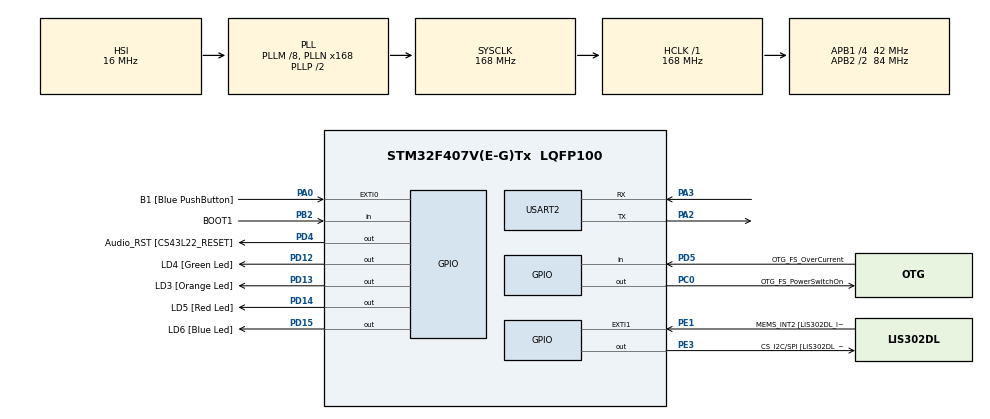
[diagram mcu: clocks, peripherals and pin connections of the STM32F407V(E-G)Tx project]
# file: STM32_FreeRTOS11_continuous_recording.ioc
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Mcu.Family=STM32F4
Mcu.Name=STM32F407V(E-G)Tx
Mcu.Package=LQFP100
NVIC.PriorityGroup=NVIC_PRIORITYGROUP_4
NVIC.TIM6_DAC_IRQn=true\:0\:0\:true\:false\:true\:false\:true\:true
NVIC.TimeBase=TIM6_DAC_IRQn
NVIC.TimeBaseIP=TIM6
NVIC.USART2_IRQn=true\:6\:0\:true\:false\:false\:true\:true\:false
PA0-WKUP.GPIO_Label=B1 [Blue PushButton]
PA0-WKUP.Signal=GPXTI0
PA10.GPIO_Label=OTG_FS_ID
PA10.GPIO_Mode=GPIO_MODE_AF_PP
PA10.GPIO_PuPd=GPIO_NOPULL
PA10.GPIO_Speed=GPIO_SPEED_FREQ_LOW
PA10.Signal=USB_OTG_FS_ID
PA11.GPIO_Label=OTG_FS_DM
PA11.GPIO_Mode=GPIO_MODE_AF_PP
PA11.GPIO_PuPd=GPIO_NOPULL
PA11.GPIO_Speed=GPIO_SPEED_FREQ_LOW
PA11.Signal=USB_OTG_FS_DM
PA12.GPIO_Label=OTG_FS_DP
PA12.GPIO_Mode=GPIO_MODE_AF_PP
PA12.GPIO_PuPd=GPIO_NOPULL
PA12.GPIO_Speed=GPIO_SPEED_FREQ_LOW
PA12.Signal=USB_OTG_FS_DP
PA13.GPIO_Label=SWDIO
PA13.Signal=SYS_JTMS-SWDIO
PA14.GPIO_Label=SWCLK
PA14.Signal=SYS_JTCK-SWCLK
PA2.Mode=Asynchronous
PA2.Signal=USART2_TX
PA3.Mode=Asynchronous
PA3.Signal=USART2_RX
PA4.GPIO_Label=I2S3_WS [CS43L22_LRCK]
PA4.GPIO_Mode=GPIO_MODE_AF_PP
PA4.GPIO_PuPd=GPIO_NOPULL
PA4.GPIO_Speed=GPIO_SPEED_FREQ_LOW
PA4.Signal=I2S3_WS
PA5.GPIO_Label=SPI1_SCK [LIS302DL_SCL/SPC]
PA5.GPIO_Mode=GPIO_MODE_AF_PP
PA5.GPIO_PuPd=GPIO_NOPULL
PA5.GPIO_Speed=GPIO_SPEED_FREQ_LOW
PA5.Signal=SPI1_SCK
PA6.GPIO_Label=SPI1_MISO [LIS302DL_SDO]
PA6.GPIO_Mode=GPIO_MODE_AF_PP
PA6.GPIO_PuPd=GPIO_NOPULL
PA6.GPIO_Speed=GPIO_SPEED_FREQ_LOW
PA6.Signal=SPI1_MISO
PA7.GPIO_Label=SPI1_MOSI [LIS302DL_SDA/SDI/SDO]
PA7.GPIO_Mode=GPIO_MODE_AF_PP
PA7.GPIO_PuPd=GPIO_NOPULL
PA7.GPIO_Speed=GPIO_SPEED_FREQ_LOW
PA7.Signal=SPI1_MOSI
PA9.GPIO_Label=VBUS_FS
PA9.GPIO_Mode=GPIO_MODE_INPUT
PA9.GPIO_PuPd=GPIO_NOPULL
PA9.Signal=USB_OTG_FS_VBUS
PB10.GPIO_Label=CLK_IN [MP45DT02_CLK]
PB10.GPIO_Mode=GPIO_MODE_AF_PP
PB10.GPIO_PuPd=GPIO_NOPULL
PB10.GPIO_Speed=GPIO_SPEED_FREQ_LOW
PB10.Signal=I2S2_CK
PB2.GPIO_Label=BOOT1
PB2.GPIO_Mode=GPIO_MODE_INPUT
PB2.GPIO_PuPd=GPIO_NOPULL
PB2.Signal=GPIO_Input
PB3.GPIO_Label=SWO
PB3.Signal=SYS_JTDO-SWO
PB6.GPIO_Label=Audio_SCL [CS43L22_SCL]
PB6.GPIO_Mode=GPIO_MODE_AF_OD
PB6.GPIO_PuPd=GPIO_NOPULL
PB6.GPIO_Speed=GPIO_SPEED_FREQ_LOW
PB6.Signal=I2C1_SCL
PB9.GPIO_Label=Audio_SDA [CS43L22_SDA]
PB9.GPIO_Mode=GPIO_MODE_AF_OD
PB9.GPIO_PuPd=GPIO_NOPULL
PB9.GPIO_Speed=GPIO_SPEED_FREQ_LOW
PB9.Signal=I2C1_SDA
PC0.GPIO_Label=OTG_FS_PowerSwitchOn
PC0.GPIO_PuPd=GPIO_NOPULL
PC0.GPIO_Speed=GPIO_SPEED_FREQ_LOW
PC0.PinState=GPIO_PIN_SET
PC0.Signal=GPIO_Output
PC10.GPIO_Label=I2S3_SCK [CS43L22_SCLK]
PC10.GPIO_Mode=GPIO_MODE_AF_PP
PC10.GPIO_PuPd=GPIO_NOPULL
PC10.GPIO_Speed=GPIO_SPEED_FREQ_LOW
PC10.Signal=I2S3_CK
PC12.GPIO_Label=I2S3_SD [CS43L22_SDIN]
PC12.GPIO_Mode=GPIO_MODE_AF_PP
PC12.GPIO_PuPd=GPIO_NOPULL
PC12.GPIO_Speed=GPIO_SPEED_FREQ_LOW
PC12.Signal=I2S3_SD
PC14-OSC32_IN.GPIO_Label=PC14-OSC32_IN
PC14-OSC32_IN.Signal=RCC_OSC32_IN
PC15-OSC32_OUT.GPIO_Label=PC15-OSC32_OUT
PC15-OSC32_OUT.Signal=RCC_OSC32_OUT
PC3.GPIO_Label=PDM_OUT [MP45DT02_DOUT]
PC3.GPIO_Mode=GPIO_MODE_AF_PP
PC3.GPIO_PuPd=GPIO_NOPULL
PC3.GPIO_Speed=GPIO_SPEED_FREQ_LOW
PC3.Signal=I2S2_SD
PC7.GPIO_Label=I2S3_MCK [CS43L22_MCLK]
PC7.GPIO_Mode=GPIO_MODE_AF_PP
PC7.GPIO_PuPd=GPIO_NOPULL
PC7.GPIO_Speed=GPIO_SPEED_FREQ_LOW
PC7.Signal=I2S3_MCK
PD12.GPIO_Label=LD4 [Green Led]
PD12.GPIO_PuPd=GPIO_NOPULL
PD12.GPIO_Speed=GPIO_SPEED_FREQ_LOW
PD12.Signal=GPIO_Output
PD13.GPIO_Label=LD3 [Orange Led]
PD13.GPIO_PuPd=GPIO_NOPULL
PD13.GPIO_Speed=GPIO_SPEED_FREQ_LOW
PD13.Signal=GPIO_Output
PD14.GPIO_Label=LD5 [Red Led]
PD14.GPIO_PuPd=GPIO_NOPULL
PD14.GPIO_Speed=GPIO_SPEED_FREQ_LOW
PD14.Signal=GPIO_Output
PD15.GPIO_Label=LD6 [Blue Led]
PD15.GPIO_PuPd=GPIO_NOPULL
PD15.GPIO_Speed=GPIO_SPEED_FREQ_LOW
PD15.Signal=GPIO_Output
PD4.GPIO_Label=Audio_RST [CS43L22_RESET]
PD4.GPIO_PuPd=GPIO_NOPULL
PD4.GPIO_Speed=GPIO_SPEED_FREQ_LOW
PD4.Signal=GPIO_Output
PD5.GPIO_Label=OTG_FS_OverCurrent
PD5.GPIO_Mode=GPIO_MODE_INPUT
PD5.GPIO_PuPd=GPIO_NOPULL
PD5.Signal=GPIO_Input
PE1.GPIO_Label=MEMS_INT2 [LIS302DL_INT2]
PE1.GPIO_ModeDefaultEXTI=GPIO_MODE_EVT_RISING
PE1.GPIO_PuPd=GPIO_NOPULL
PE1.Signal=GPXTI1
PE3.GPIO_Label=CS_I2C/SPI [LIS302DL_CS_I2C/SPI]
PE3.GPIO_PuPd=GPIO_NOPULL
PE3.GPIO_Speed=GPIO_SPEED_FREQ_LOW
PE3.Signal=GPIO_Output
PH0-OSC_IN.GPIO_Label=PH0-OSC_IN
PH0-OSC_IN.Signal=RCC_OSC_IN
PH1-OSC_OUT.GPIO_Label=PH1-OSC_OUT
PH1-OSC_OUT.Signal=RCC_OSC_OUT
ProjectManager.HeapSize=0x200
ProjectManager.StackSize=0x400
ProjectManager.TargetToolchain=STM32CubeIDE
RCC.48MHZClocksFreq_Value=48000000
RCC.AHBFreq_Value=168000000
RCC.APB1CLKDivider=RCC_HCLK_DIV4
RCC.APB1Freq_Value=42000000
RCC.APB1TimFreq_Value=84000000
RCC.APB2CLKDivider=RCC_HCLK_DIV2
RCC.APB2Freq_Value=84000000
RCC.APB2TimFreq_Value=168000000
RCC.CortexFreq_Value=168000000
RCC.HCLKFreq_Value=168000000
RCC.HSE_VALUE=8000000
RCC.HSI_VALUE=16000000
RCC.LSE_VALUE=32768
RCC.PLLM=8
RCC.PLLN=168
RCC.PLLQ=7
RCC.SYSCLKFreq_VALUE=168000000
RCC.SYSCLKSource=RCC_SYSCLKSOURCE_PLLCLK
RCC.VCOOutputFreq_Value=336000000
RTC.HourFormat=RTC_HOURFORMAT_24
USART2.VirtualMode=VM_ASYNC
VP_RTC_VS_RTC_Activate.Mode=RTC_Enabled
VP_SYS_VS_tim6.Mode=TIM6
board=STM32F407G-DISC1

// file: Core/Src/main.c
/* USER CODE BEGIN Header */
/**
  ******************************************************************************
  * @file           : main.c
  * @brief          : Main program body
  ******************************************************************************
  * @attention
  *
  * <h2><center>&copy; Copyright (c) 2021 STMicroelectronics.
  * All rights reserved.</center></h2>
  *
  * This software component is licensed by ST under BSD 3-Clause license,
  * the "License"; You may not use this file except in compliance with the
  * License. You may obtain a copy of the License at:
  *                        opensource.org/licenses/BSD-3-Clause
  *
  ******************************************************************************
  */
/* USER CODE END Header */
#include "main.h"

/* USER CODE BEGIN Includes */
#include <stdio.h>
#include "FreeRTOS.h"
#include "task.h"

/* USER CODE END Includes */

RTC_HandleTypeDef hrtc;

UART_HandleTypeDef huart2;

/* USER CODE BEGIN PV */

#define DWT_CTRL    (*(volatile uint32_t*)0xE0001000)

/* USER CODE END PV */

void SystemClock_Config(void);
static void MX_GPIO_Init(void);
static void MX_RTC_Init(void);
static void MX_USART2_UART_Init(void);
/* USER CODE BEGIN PFP */

void led_effect_callback(TimerHandle_t xTimer);
void rtc_report_callback( TimerHandle_t xTimer );

extern  void SEGGER_UART_init(uint32_t);

/* USER CODE END PFP */

/* USER CODE BEGIN 0 */

TaskHandle_t handle_menu_task;
TaskHandle_t handle_cmd_task;
TaskHandle_t handle_print_task;
TaskHandle_t handle_led_task;
TaskHandle_t handle_rtc_task;

QueueHandle_t queue_data;
QueueHandle_t queue_print;

volatile uint8_t user_data;
//sw timer handles
TimerHandle_t handle_led_timers[4];
TimerHandle_t rtc_timer;
/* USER CODE END 0 */

int main(void)
{

  /* USER CODE BEGIN 1 */

  BaseType_t status;

  /* USER CODE END 1 */

  /* MCU Configuration--------------------------------------------------------*/

  /* Reset of all peripherals, Initializes the Flash interface and the Systick. */
  HAL_Init();

  /* Configure the system clock */
  SystemClock_Config();

  /* Initialize all configured peripherals */
  MX_GPIO_Init();
  MX_RTC_Init();
  MX_USART2_UART_Init();
  /* USER CODE BEGIN 2 */

  //Enable the CYCCNT counter.
  DWT_CTRL |= ( 1 << 0);

  SEGGER_UART_init(500000);

  SEGGER_SYSVIEW_Conf();

 // SEGGER_SYSVIEW_Start();

  status = xTaskCreate(menu_task, "menu task", 200, NULL, 2, &handle_menu_task);

  configASSERT(status == pdPASS);

  status = xTaskCreate(cmd_task, "cmd_task", 200, NULL, 2, &handle_cmd_task);

  configASSERT(status == pdPASS);

  status = xTaskCreate(print_task, "print_task", 200, NULL, 2, &handle_print_task);

  configASSERT(status == pdPASS);

  status = xTaskCreate(led_task, "led_task", 200, NULL, 2, &handle_led_task);

  configASSERT(status == pdPASS);

  status = xTaskCreate(rtc_task, "rtc_task", 200, NULL, 2, &handle_rtc_task);

  configASSERT(status == pdPASS);

  queue_data = xQueueCreate(10, sizeof(char));

  configASSERT(queue_data != NULL);

  queue_print = xQueueCreate(10, sizeof(size_t));

  configASSERT(queue_print != NULL);

  //create sw timers for led effects
  for(int i = 0; i < 4; i++){
    handle_led_timers[i] = xTimerCreate("Led-Timer", pdMS_TO_TICKS(500), pdTRUE, (void*)(i+1), led_effect_callback);
  }

  rtc_timer = xTimerCreate("rtc_report_timer",pdMS_TO_TICKS(1000),pdTRUE,NULL,rtc_report_callback);

  HAL_UART_Receive_IT(&huart2, (uint8_t*)&user_data, 1);

  //start the freeRTOS scheduler
  vTaskStartScheduler();

  //if the control comes here, then the launch of the scheduler has failed due to
  //insufficient memory in heap

  /* USER CODE END 2 */

  /* Infinite loop */
  while(1)
  {

  }
}

void SystemClock_Config(void)
{
  RCC_OscInitTypeDef RCC_OscInitStruct = {0};
  RCC_ClkInitTypeDef RCC_ClkInitStruct = {0};

  /** Configure the main internal regulator output voltage
  */
  __HAL_RCC_PWR_CLK_ENABLE();
  __HAL_PWR_VOLTAGESCALING_CONFIG(PWR_REGULATOR_VOLTAGE_SCALE1);

  /** Initializes the RCC Oscillators according to the specified parameters
  * in the RCC_OscInitTypeDef structure.
  */
  RCC_OscInitStruct.OscillatorType = RCC_OSCILLATORTYPE_HSI|RCC_OSCILLATORTYPE_LSI;
  RCC_OscInitStruct.HSIState = RCC_HSI_ON;
  RCC_OscInitStruct.HSICalibrationValue = RCC_HSICALIBRATION_DEFAULT;
  RCC_OscInitStruct.LSIState = RCC_LSI_ON;
  RCC_OscInitStruct.PLL.PLLState = RCC_PLL_ON;
  RCC_OscInitStruct.PLL.PLLSource = RCC_PLLSOURCE_HSI;
  RCC_OscInitStruct.PLL.PLLM = 8;
  RCC_OscInitStruct.PLL.PLLN = 168;
  RCC_OscInitStruct.PLL.PLLP = RCC_PLLP_DIV2;
  RCC_OscInitStruct.PLL.PLLQ = 7;
  if (HAL_RCC_OscConfig(&RCC_OscInitStruct) != HAL_OK)
  {
    Error_Handler();
  }

  /** Initializes the CPU, AHB and APB buses clocks
  */
  RCC_ClkInitStruct.ClockType = RCC_CLOCKTYPE_HCLK|RCC_CLOCKTYPE_SYSCLK
                              |RCC_CLOCKTYPE_PCLK1|RCC_CLOCKTYPE_PCLK2;
  RCC_ClkInitStruct.SYSCLKSource = RCC_SYSCLKSOURCE_PLLCLK;
  RCC_ClkInitStruct.AHBCLKDivider = RCC_SYSCLK_DIV1;
  RCC_ClkInitStruct.APB1CLKDivider = RCC_HCLK_DIV4;
  RCC_ClkInitStruct.APB2CLKDivider = RCC_HCLK_DIV2;

  if (HAL_RCC_ClockConfig(&RCC_ClkInitStruct, FLASH_LATENCY_5) != HAL_OK)
  {
    Error_Handler();
  }
}

static void MX_RTC_Init(void)
{

  /** Initialize RTC Only
  */
  hrtc.Instance = RTC;
  hrtc.Init.HourFormat = RTC_HOURFORMAT_24;
  hrtc.Init.AsynchPrediv = 127;
  hrtc.Init.SynchPrediv = 255;
  hrtc.Init.OutPut = RTC_OUTPUT_DISABLE;
  hrtc.Init.OutPutPolarity = RTC_OUTPUT_POLARITY_HIGH;
  hrtc.Init.OutPutType = RTC_OUTPUT_TYPE_OPENDRAIN;
  if (HAL_RTC_Init(&hrtc) != HAL_OK)
  {
    Error_Handler();
  }

}

static void MX_USART2_UART_Init(void)
{

  huart2.Instance = USART2;
  huart2.Init.BaudRate = 115200;
  huart2.Init.WordLength = UART_WORDLENGTH_8B;
  huart2.Init.StopBits = UART_STOPBITS_1;
  huart2.Init.Parity = UART_PARITY_NONE;
  huart2.Init.Mode = UART_MODE_TX_RX;
  huart2.Init.HwFlowCtl = UART_HWCONTROL_NONE;
  huart2.Init.OverSampling = UART_OVERSAMPLING_16;
  if (HAL_UART_Init(&huart2) != HAL_OK)
  {
    Error_Handler();
  }

}

static void MX_GPIO_Init(void)
{
  GPIO_InitTypeDef GPIO_InitStruct = {0};

  /* GPIO Ports Clock Enable */
  __HAL_RCC_GPIOE_CLK_ENABLE();
  __HAL_RCC_GPIOC_CLK_ENABLE();
  __HAL_RCC_GPIOH_CLK_ENABLE();
  __HAL_RCC_GPIOA_CLK_ENABLE();
  __HAL_RCC_GPIOB_CLK_ENABLE();
  __HAL_RCC_GPIOD_CLK_ENABLE();

  /*Configure GPIO pin Output Level */
  HAL_GPIO_WritePin(CS_I2C_SPI_GPIO_Port, CS_I2C_SPI_Pin, GPIO_PIN_RESET);

  /*Configure GPIO pin Output Level */
  HAL_GPIO_WritePin(OTG_FS_PowerSwitchOn_GPIO_Port, OTG_FS_PowerSwitchOn_Pin, GPIO_PIN_SET);

  /*Configure GPIO pin Output Level */
  HAL_GPIO_WritePin(GPIOD, LD4_Pin|LD3_Pin|LD5_Pin|LD6_Pin
                          |Audio_RST_Pin, GPIO_PIN_RESET);

  /*Configure GPIO pin : CS_I2C_SPI_Pin */
  GPIO_InitStruct.Pin = CS_I2C_SPI_Pin;
  GPIO_InitStruct.Mode = GPIO_MODE_OUTPUT_PP;
  GPIO_InitStruct.Pull = GPIO_NOPULL;
  GPIO_InitStruct.Speed = GPIO_SPEED_FREQ_LOW;
  HAL_GPIO_Init(CS_I2C_SPI_GPIO_Port, &GPIO_InitStruct);

  /*Configure GPIO pin : OTG_FS_PowerSwitchOn_Pin */
  GPIO_InitStruct.Pin = OTG_FS_PowerSwitchOn_Pin;
  GPIO_InitStruct.Mode = GPIO_MODE_OUTPUT_PP;
  GPIO_InitStruct.Pull = GPIO_NOPULL;
  GPIO_InitStruct.Speed = GPIO_SPEED_FREQ_LOW;
  HAL_GPIO_Init(OTG_FS_PowerSwitchOn_GPIO_Port, &GPIO_InitStruct);

  /*Configure GPIO pin : PDM_OUT_Pin */
  GPIO_InitStruct.Pin = PDM_OUT_Pin;
  GPIO_InitStruct.Mode = GPIO_MODE_AF_PP;
  GPIO_InitStruct.Pull = GPIO_NOPULL;
  GPIO_InitStruct.Speed = GPIO_SPEED_FREQ_LOW;
  GPIO_InitStruct.Alternate = GPIO_AF5_SPI2;
  HAL_GPIO_Init(PDM_OUT_GPIO_Port, &GPIO_InitStruct);

  /*Configure GPIO pin : B1_Pin */
  GPIO_InitStruct.Pin = B1_Pin;
  GPIO_InitStruct.Mode = GPIO_MODE_IT_RISING;
  GPIO_InitStruct.Pull = GPIO_NOPULL;
  HAL_GPIO_Init(B1_GPIO_Port, &GPIO_InitStruct);

  /*Configure GPIO pin : I2S3_WS_Pin */
  GPIO_InitStruct.Pin = I2S3_WS_Pin;
  GPIO_InitStruct.Mode = GPIO_MODE_AF_PP;
  GPIO_InitStruct.Pull = GPIO_NOPULL;
  GPIO_InitStruct.Speed = GPIO_SPEED_FREQ_LOW;
  GPIO_InitStruct.Alternate = GPIO_AF6_SPI3;
  HAL_GPIO_Init(I2S3_WS_GPIO_Port, &GPIO_InitStruct);

  /*Configure GPIO pins : SPI1_SCK_Pin SPI1_MISO_Pin SPI1_MOSI_Pin */
  GPIO_InitStruct.Pin = SPI1_SCK_Pin|SPI1_MISO_Pin|SPI1_MOSI_Pin;
  GPIO_InitStruct.Mode = GPIO_MODE_AF_PP;
  GPIO_InitStruct.Pull = GPIO_NOPULL;
  GPIO_InitStruct.Speed = GPIO_SPEED_FREQ_LOW;
  GPIO_InitStruct.Alternate = GPIO_AF5_SPI1;
  HAL_GPIO_Init(GPIOA, &GPIO_InitStruct);

  /*Configure GPIO pin : BOOT1_Pin */
  GPIO_InitStruct.Pin = BOOT1_Pin;
  GPIO_InitStruct.Mode = GPIO_MODE_INPUT;
  GPIO_InitStruct.Pull = GPIO_NOPULL;
  HAL_GPIO_Init(BOOT1_GPIO_Port, &GPIO_InitStruct);

  /*Configure GPIO pin : CLK_IN_Pin */
  GPIO_InitStruct.Pin = CLK_IN_Pin;
  GPIO_InitStruct.Mode = GPIO_MODE_AF_PP;
  GPIO_InitStruct.Pull = GPIO_NOPULL;
  GPIO_InitStruct.Speed = GPIO_SPEED_FREQ_LOW;
  GPIO_InitStruct.Alternate = GPIO_AF5_SPI2;
  HAL_GPIO_Init(CLK_IN_GPIO_Port, &GPIO_InitStruct);

  /*Configure GPIO pins : LD4_Pin LD3_Pin LD5_Pin LD6_Pin
                           Audio_RST_Pin */
  GPIO_InitStruct.Pin = LD4_Pin|LD3_Pin|LD5_Pin|LD6_Pin
                          |Audio_RST_Pin;
  GPIO_InitStruct.Mode = GPIO_MODE_OUTPUT_PP;
  GPIO_InitStruct.Pull = GPIO_NOPULL;
  GPIO_InitStruct.Speed = GPIO_SPEED_FREQ_LOW;
  HAL_GPIO_Init(GPIOD, &GPIO_InitStruct);

  /*Configure GPIO pins : I2S3_MCK_Pin I2S3_SCK_Pin I2S3_SD_Pin */
  GPIO_InitStruct.Pin = I2S3_MCK_Pin|I2S3_SCK_Pin|I2S3_SD_Pin;
  GPIO_InitStruct.Mode = GPIO_MODE_AF_PP;
  GPIO_InitStruct.Pull = GPIO_NOPULL;
  GPIO_InitStruct.Speed = GPIO_SPEED_FREQ_LOW;
  GPIO_InitStruct.Alternate = GPIO_AF6_SPI3;
  HAL_GPIO_Init(GPIOC, &GPIO_InitStruct);

  /*Configure GPIO pin : VBUS_FS_Pin */
  GPIO_InitStruct.Pin = VBUS_FS_Pin;
  GPIO_InitStruct.Mode = GPIO_MODE_INPUT;
  GPIO_InitStruct.Pull = GPIO_NOPULL;
  HAL_GPIO_Init(VBUS_FS_GPIO_Port, &GPIO_InitStruct);

  /*Configure GPIO pins : OTG_FS_ID_Pin OTG_FS_DM_Pin OTG_FS_DP_Pin */
  GPIO_InitStruct.Pin = OTG_FS_ID_Pin|OTG_FS_DM_Pin|OTG_FS_DP_Pin;
  GPIO_InitStruct.Mode = GPIO_MODE_AF_PP;
  GPIO_InitStruct.Pull = GPIO_NOPULL;
  GPIO_InitStruct.Speed = GPIO_SPEED_FREQ_LOW;
  GPIO_InitStruct.Alternate = GPIO_AF10_OTG_FS;
  HAL_GPIO_Init(GPIOA, &GPIO_InitStruct);

  /*Configure GPIO pin : OTG_FS_OverCurrent_Pin */
  GPIO_InitStruct.Pin = OTG_FS_OverCurrent_Pin;
  GPIO_InitStruct.Mode = GPIO_MODE_INPUT;
  GPIO_InitStruct.Pull = GPIO_NOPULL;
  HAL_GPIO_Init(OTG_FS_OverCurrent_GPIO_Port, &GPIO_InitStruct);

  /*Configure GPIO pins : Audio_SCL_Pin Audio_SDA_Pin */
  GPIO_InitStruct.Pin = Audio_SCL_Pin|Audio_SDA_Pin;
  GPIO_InitStruct.Mode = GPIO_MODE_AF_OD;
  GPIO_InitStruct.Pull = GPIO_NOPULL;
  GPIO_InitStruct.Speed = GPIO_SPEED_FREQ_LOW;
  GPIO_InitStruct.Alternate = GPIO_AF4_I2C1;
  HAL_GPIO_Init(GPIOB, &GPIO_InitStruct);

  /*Configure GPIO pin : MEMS_INT2_Pin */
  GPIO_InitStruct.Pin = MEMS_INT2_Pin;
  GPIO_InitStruct.Mode = GPIO_MODE_EVT_RISING;
  GPIO_InitStruct.Pull = GPIO_NOPULL;
  HAL_GPIO_Init(MEMS_INT2_GPIO_Port, &GPIO_InitStruct);

}

/* USER CODE BEGIN 4 */

void led_effect_callback(TimerHandle_t xTimer){
  int id;
  id = (uint32_t)pvTimerGetTimerID(xTimer);
  switch(id){
  case 1:
    LED_effect1();
    break;
  case 2:
    LED_effect2();
    break;
  case 3:
    LED_effect3();
    break;
  case 4:
    LED_effect4();
    break;
  }
}

void rtc_report_callback( TimerHandle_t xTimer )
{
   show_time_date_itm();

}

void HAL_UART_RxCpltCallback(UART_HandleTypeDef *huart)
{
  uint8_t dummy;

  if(xQueueIsQueueFullFromISR(queue_data))
  {
    /*Queue is not full */

    /*Enqueue data byte */
    xQueueSendFromISR(queue_data, (void*)&user_data, NULL);

  }else{
    /*Queue is full */

    if(user_data == '\n')
    {
      /*user_data = '\n' */

      /*make sure that last data byte of the queue is '\n' */
      xQueueReceiveFromISR(queue_data, (void*)&dummy, NULL);
      xQueueSendFromISR(queue_data, (void*)&user_data, NULL);
    }
  }

  /*send notification to command handling task if user_data = '\n' */
  if(user_data == '\n'){
    xTaskNotifyFromISR(handle_cmd_task, 0, eNoAction, NULL);
  }

  /*Enable UART data byte reception again in IT mode */
  HAL_UART_Receive_IT(&huart2, (uint8_t*)&user_data, 1);
}

/* USER CODE END 4 */

void HAL_TIM_PeriodElapsedCallback(TIM_HandleTypeDef *htim)
{
  if (htim->Instance == TIM6) {
    HAL_IncTick();
  }
}

void Error_Handler(void)
{
}
